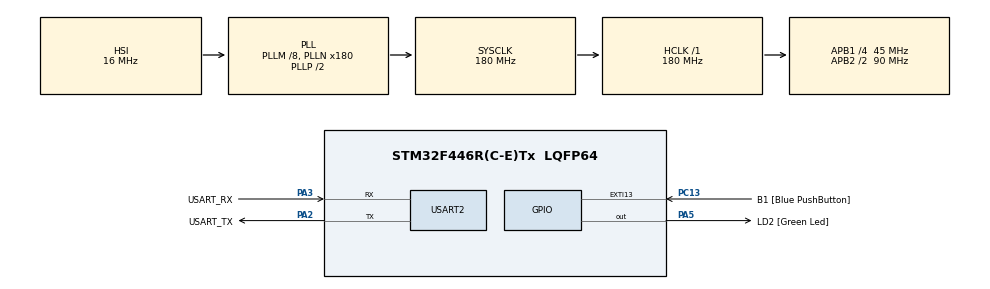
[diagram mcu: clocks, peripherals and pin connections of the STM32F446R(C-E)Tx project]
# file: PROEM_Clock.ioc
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Mcu.Family=STM32F4
Mcu.Name=STM32F446R(C-E)Tx
Mcu.Package=LQFP64
NVIC.PriorityGroup=NVIC_PRIORITYGROUP_0
PA13.GPIO_Label=TMS
PA13.Mode=Serial_Wire
PA13.Signal=SYS_JTMS-SWDIO
PA14.GPIO_Label=TCK
PA14.Mode=Serial_Wire
PA14.Signal=SYS_JTCK-SWCLK
PA2.GPIO_Label=USART_TX
PA2.Mode=Asynchronous
PA2.Signal=USART2_TX
PA3.GPIO_Label=USART_RX
PA3.Mode=Asynchronous
PA3.Signal=USART2_RX
PA5.GPIO_Label=LD2 [Green Led]
PA5.Signal=GPIO_Output
PB3.GPIO_Label=SWO
PB3.Signal=SYS_JTDO-SWO
PC13.GPIO_Label=B1 [Blue PushButton]
PC13.GPIO_ModeDefaultEXTI=GPIO_MODE_IT_FALLING
PC13.Signal=GPXTI13
PC14-OSC32_IN.Mode=LSE-External-Oscillator
PC14-OSC32_IN.Signal=RCC_OSC32_IN
PC15-OSC32_OUT.Mode=LSE-External-Oscillator
PC15-OSC32_OUT.Signal=RCC_OSC32_OUT
PH0-OSC_IN.Mode=HSE-External-Oscillator
PH0-OSC_IN.Signal=RCC_OSC_IN
PH1-OSC_OUT.Mode=HSE-External-Oscillator
PH1-OSC_OUT.Signal=RCC_OSC_OUT
ProjectManager.HeapSize=0x200
ProjectManager.StackSize=0x400
ProjectManager.TargetToolchain=STM32CubeIDE
RCC.48MHZClocksFreq_Value=84000000
RCC.AHBFreq_Value=180000000
RCC.APB1CLKDivider=RCC_HCLK_DIV4
RCC.APB1Freq_Value=45000000
RCC.APB1TimFreq_Value=90000000
RCC.APB2CLKDivider=RCC_HCLK_DIV2
RCC.APB2Freq_Value=90000000
RCC.APB2TimFreq_Value=180000000
RCC.CortexFreq_Value=180000000
RCC.FLatency-AdvancedSettings=FLASH_LATENCY_5
RCC.HCLKFreq_Value=180000000
RCC.HSE_VALUE=8000000
RCC.HSI_VALUE=16000000
RCC.PLLM=8
RCC.PLLN=180
RCC.SYSCLKFreq_VALUE=180000000
RCC.SYSCLKSource=RCC_SYSCLKSOURCE_PLLCLK
RCC.USBFreq_Value=180000000
RCC.VCOOutputFreq_Value=360000000
USART2.VirtualMode=VM_ASYNC
board=NUCLEO-F446RE

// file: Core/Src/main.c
/* USER CODE BEGIN Header */
/**
  ******************************************************************************
  * @file           : main.c
  * @brief          : Main program body
  ******************************************************************************
  * @attention
  *
  * Copyright (c) 2022 STMicroelectronics.
  * All rights reserved.
  *
  * This software is licensed under terms that can be found in the LICENSE file
  * in the root directory of this software component.
  * If no LICENSE file comes with this software, it is provided AS-IS.
  *
  ******************************************************************************
  */
/* USER CODE END Header */
#include "main.h"

UART_HandleTypeDef huart2;

void SystemClock_Config(void);
static void MX_GPIO_Init(void);
static void MX_USART2_UART_Init(void);
/* USER CODE BEGIN PFP */
void clock50MHz(void);
void clock16MHz(void);
void IWDT_Init(void);
/* USER CODE END PFP */

int main(void)
{

	/* MCU Configuration--------------------------------------------------------*/

	/* Reset of all peripherals, Initializes the Flash interface and the Systick. */
	HAL_Init();

	/* Configure the system clock */
	SystemClock_Config();

	/* Initialize all configured peripherals */
	MX_GPIO_Init();
	MX_USART2_UART_Init();
	/* USER CODE BEGIN 2 */

	int i = 0;
	HAL_Init();
	SystemClock_Config();
	MX_GPIO_Init();
	MX_USART2_UART_Init();
	//Mantém o led aceso por 2 segundos
	HAL_GPIO_WritePin(LD2_GPIO_Port, LD2_Pin, GPIO_PIN_SET);
	HAL_Delay(2000);
	//Habilita o Watchdog
	IWDT_Init();

	/* USER CODE END 2 */

	/* Infinite loop */
	while (1)
	{

		/* USER CODE BEGIN 3 */

		/* Teste de clock */
		//	  HAL_GPIO_TogglePin(LD2_GPIO_Port, LD2_Pin);
		//	  HAL_Delay(500);
		//
		//	  /* Troca o clock ao pressionar o botão*/
		//	  if (HAL_GPIO_ReadPin(B1_GPIO_Port, B1_Pin) == GPIO_PIN_RESET)
		//	  {
		//		  /* 50 Mhz */
		//		  //clock50MHz();
		//
		//		  /*16 MHz*/
		//		  clock16MHz();
		//	  }

		/* Teste de WDT */
		HAL_GPIO_TogglePin(LD2_GPIO_Port, LD2_Pin);
		HAL_Delay(100);
		i++;
		//Comentar para testar o reset
		if(i==50)
		{
			i = 0;
			//Recarrega o watchdog
			IWDG->KR = 0xAAAA;
		}
		/* USER CODE END 3 */
	}
}

void SystemClock_Config(void)
{
  RCC_OscInitTypeDef RCC_OscInitStruct = {0};
  RCC_ClkInitTypeDef RCC_ClkInitStruct = {0};

  /** Configure the main internal regulator output voltage
  */
  __HAL_RCC_PWR_CLK_ENABLE();
  __HAL_PWR_VOLTAGESCALING_CONFIG(PWR_REGULATOR_VOLTAGE_SCALE1);

  /** Initializes the RCC Oscillators according to the specified parameters
  * in the RCC_OscInitTypeDef structure.
  */
  RCC_OscInitStruct.OscillatorType = RCC_OSCILLATORTYPE_HSI;
  RCC_OscInitStruct.HSIState = RCC_HSI_ON;
  RCC_OscInitStruct.HSICalibrationValue = RCC_HSICALIBRATION_DEFAULT;
  RCC_OscInitStruct.PLL.PLLState = RCC_PLL_ON;
  RCC_OscInitStruct.PLL.PLLSource = RCC_PLLSOURCE_HSI;
  RCC_OscInitStruct.PLL.PLLM = 8;
  RCC_OscInitStruct.PLL.PLLN = 180;
  RCC_OscInitStruct.PLL.PLLP = RCC_PLLP_DIV2;
  RCC_OscInitStruct.PLL.PLLQ = 2;
  RCC_OscInitStruct.PLL.PLLR = 2;
  if (HAL_RCC_OscConfig(&RCC_OscInitStruct) != HAL_OK)
  {
    Error_Handler();
  }

  /** Activate the Over-Drive mode
  */
  if (HAL_PWREx_EnableOverDrive() != HAL_OK)
  {
    Error_Handler();
  }

  /** Initializes the CPU, AHB and APB buses clocks
  */
  RCC_ClkInitStruct.ClockType = RCC_CLOCKTYPE_HCLK|RCC_CLOCKTYPE_SYSCLK
                              |RCC_CLOCKTYPE_PCLK1|RCC_CLOCKTYPE_PCLK2;
  RCC_ClkInitStruct.SYSCLKSource = RCC_SYSCLKSOURCE_PLLCLK;
  RCC_ClkInitStruct.AHBCLKDivider = RCC_SYSCLK_DIV1;
  RCC_ClkInitStruct.APB1CLKDivider = RCC_HCLK_DIV4;
  RCC_ClkInitStruct.APB2CLKDivider = RCC_HCLK_DIV2;

  if (HAL_RCC_ClockConfig(&RCC_ClkInitStruct, FLASH_LATENCY_5) != HAL_OK)
  {
    Error_Handler();
  }
}

static void MX_USART2_UART_Init(void)
{

  huart2.Instance = USART2;
  huart2.Init.BaudRate = 115200;
  huart2.Init.WordLength = UART_WORDLENGTH_8B;
  huart2.Init.StopBits = UART_STOPBITS_1;
  huart2.Init.Parity = UART_PARITY_NONE;
  huart2.Init.Mode = UART_MODE_TX_RX;
  huart2.Init.HwFlowCtl = UART_HWCONTROL_NONE;
  huart2.Init.OverSampling = UART_OVERSAMPLING_16;
  if (HAL_UART_Init(&huart2) != HAL_OK)
  {
    Error_Handler();
  }

}

static void MX_GPIO_Init(void)
{
  GPIO_InitTypeDef GPIO_InitStruct = {0};

  /* GPIO Ports Clock Enable */
  __HAL_RCC_GPIOC_CLK_ENABLE();
  __HAL_RCC_GPIOH_CLK_ENABLE();
  __HAL_RCC_GPIOA_CLK_ENABLE();
  __HAL_RCC_GPIOB_CLK_ENABLE();

  /*Configure GPIO pin Output Level */
  HAL_GPIO_WritePin(LD2_GPIO_Port, LD2_Pin, GPIO_PIN_RESET);

  /*Configure GPIO pin : B1_Pin */
  GPIO_InitStruct.Pin = B1_Pin;
  GPIO_InitStruct.Mode = GPIO_MODE_IT_FALLING;
  GPIO_InitStruct.Pull = GPIO_NOPULL;
  HAL_GPIO_Init(B1_GPIO_Port, &GPIO_InitStruct);

  /*Configure GPIO pin : LD2_Pin */
  GPIO_InitStruct.Pin = LD2_Pin;
  GPIO_InitStruct.Mode = GPIO_MODE_OUTPUT_PP;
  GPIO_InitStruct.Pull = GPIO_NOPULL;
  GPIO_InitStruct.Speed = GPIO_SPEED_FREQ_LOW;
  HAL_GPIO_Init(LD2_GPIO_Port, &GPIO_InitStruct);

}

/* USER CODE BEGIN 4 */

/**
 * @brief Ajuste de clock para 50 MHz
 */
void clock50MHz(void)
{
	// HSI / PLLM * PLLN / PLLP / AHB Prescaler
	//50 MHz = 16 MHz / 16 * 300 / 6 / 1
	//Liga o HSI
	RCC->CR |= 1<<0;
	//Espera estabilizar o clock
	while(!(RCC->CR & (1<<1)));
	//Troca a fonte de clock de
	//PLLCLK para HSI de 16 MHz
	//sem PLL
	RCC->CFGR &= ~0x00000003;//SW = 0b00
	//Desliga o main PLL
	RCC->CR &= ~(1<<24);
	//PLL Source Mux = HSI
	RCC->PLLCFGR &= ~(1<<22);
	//PLLM = 16
	RCC->PLLCFGR &= ~(0x3F<<0);
	RCC->PLLCFGR |= (16<<0);
	//PLLN = 300
	RCC->PLLCFGR &= ~(0x3FF<<6);
	RCC->PLLCFGR |= (300<<6);
	//PLLP = 6
	RCC->PLLCFGR &= ~(0x3<<16);
	RCC->PLLCFGR |= (2<<16);
	//AHB Prescaller = 1
	RCC->CFGR &= ~(0xF<<4);
	//Liga o main PLL
	RCC->CR |= (1<<24);
	//Espera estabilizar o main PLL
	while(!(RCC->CR & (1<<25)));
	//System Clock Mux = PLLP
	RCC->CFGR &= ~(0x3<<0);
	RCC->CFGR |= (1<<1);
}

/**
 * @brief Ajuste de clock para 16 MHz
 */
void clock16MHz(void)
{
	// HSI / AHB Prescaler
	//16 MHz = 16 MHz / 1

	//Liga o HSI
	RCC->CR |= 1<<0;

	//Espera estabilizar o clock
	while(!(RCC->CR & (1<<1)));

	//AHB Prescaller = 1
	RCC->CFGR &= ~(0xF<<4);

	//sem PLL
	RCC->CFGR &= ~0x00000003;//SW = 0b00

	//Desliga o main PLL
	RCC->CR &= ~(1<<24);
}

/**
 * @brief Configuração de WDT
 */
void IWDT_Init(void)
{
	//período = (1/32000) * prescaler * (reload + 1)
	//período = (1/32000) * 32 * (0xFFF + 1) = 4,096 s
	//Habilita configuração
	IWDG->KR = 0x5555;
	//Define o valor de recarga
	IWDG->RLR = 0xFFF;
	//Define o valor de prescaler (vide tabela)
	IWDG->PR = 3;
	//Sai da config. (qualquer valor dif. de 0x5555 serve)
	IWDG->KR = 0xAAAA;
	//Habilita o funcionamento
	IWDG->KR = 0xCCCC;
}
/* USER CODE END 4 */

void Error_Handler(void)
{
  __disable_irq();
  while (1)
  {
  }
}
